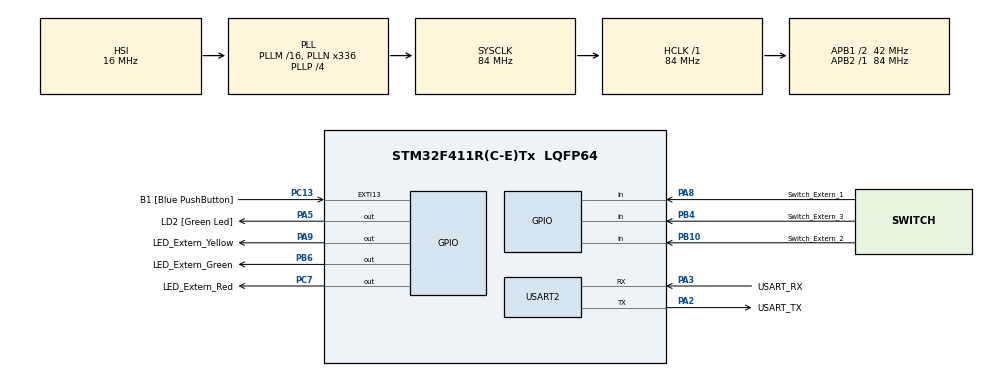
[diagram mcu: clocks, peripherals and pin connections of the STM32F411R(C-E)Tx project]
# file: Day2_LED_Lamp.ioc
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Mcu.Family=STM32F4
Mcu.Name=STM32F411R(C-E)Tx
Mcu.Package=LQFP64
NVIC.PriorityGroup=NVIC_PRIORITYGROUP_0
PA13.GPIO_Label=TMS
PA13.Mode=Serial_Wire
PA13.Signal=SYS_JTMS-SWDIO
PA14.GPIO_Label=TCK
PA14.Mode=Serial_Wire
PA14.Signal=SYS_JTCK-SWCLK
PA2.GPIO_Label=USART_TX
PA2.Mode=Asynchronous
PA2.Signal=USART2_TX
PA3.GPIO_Label=USART_RX
PA3.Mode=Asynchronous
PA3.Signal=USART2_RX
PA5.GPIO_Label=LD2 [Green Led]
PA5.Signal=GPIO_Output
PA8.GPIO_Label=Switch_Extern_1
PA8.Signal=GPIO_Input
PA9.GPIO_Label=LED_Extern_Yellow
PA9.Signal=GPIO_Output
PB10.GPIO_Label=Switch_Extern_2
PB10.Signal=GPIO_Input
PB3.GPIO_Label=SWO
PB3.Signal=SYS_JTDO-SWO
PB4.GPIO_Label=Switch_Extern_3
PB4.Signal=GPIO_Input
PB6.GPIO_Label=LED_Extern_Green
PB6.Signal=GPIO_Output
PC13-ANTI_TAMP.GPIO_Label=B1 [Blue PushButton]
PC13-ANTI_TAMP.GPIO_ModeDefaultEXTI=GPIO_MODE_IT_FALLING
PC13-ANTI_TAMP.Signal=GPXTI13
PC14-OSC32_IN.Mode=LSE-External-Oscillator
PC14-OSC32_IN.Signal=RCC_OSC32_IN
PC15-OSC32_OUT.Mode=LSE-External-Oscillator
PC15-OSC32_OUT.Signal=RCC_OSC32_OUT
PC7.GPIO_Label=LED_Extern_Red
PC7.Signal=GPIO_Output
PH0\ -\ OSC_IN.Mode=HSE-External-Clock-Source
PH0\ -\ OSC_IN.Signal=RCC_OSC_IN
PH1\ -\ OSC_OUT.Mode=HSE-External-Clock-Source
PH1\ -\ OSC_OUT.Signal=RCC_OSC_OUT
ProjectManager.HeapSize=0x200
ProjectManager.StackSize=0x400
ProjectManager.TargetToolchain=STM32CubeIDE
RCC.48MHZClocksFreq_Value=84000000
RCC.AHBFreq_Value=84000000
RCC.APB1CLKDivider=RCC_HCLK_DIV2
RCC.APB1Freq_Value=42000000
RCC.APB1TimFreq_Value=84000000
RCC.APB2Freq_Value=84000000
RCC.APB2TimFreq_Value=84000000
RCC.CortexFreq_Value=84000000
RCC.FLatency-AdvancedSettings=FLASH_LATENCY_2
RCC.HCLKFreq_Value=84000000
RCC.HSE_VALUE=8000000
RCC.HSI_VALUE=16000000
RCC.PLLN=336
RCC.PLLP=RCC_PLLP_DIV4
RCC.SYSCLKFreq_VALUE=84000000
RCC.SYSCLKSource=RCC_SYSCLKSOURCE_PLLCLK
RCC.VCOOutputFreq_Value=336000000
USART2.VirtualMode=VM_ASYNC
board=NUCLEO-F411RE

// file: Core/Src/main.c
/* USER CODE BEGIN Header */
/**
  ******************************************************************************
  * @file           : main.c
  * @brief          : Main program body
  ******************************************************************************
  * @attention
  *
  * Copyright (c) 2023 STMicroelectronics.
  * All rights reserved.
  *
  * This software is licensed under terms that can be found in the LICENSE file
  * in the root directory of this software component.
  * If no LICENSE file comes with this software, it is provided AS-IS.
  *
  ******************************************************************************
  */
#include <stdio.h>
/* USER CODE END Header */
#include "main.h"

UART_HandleTypeDef huart2;

void SystemClock_Config(void);
static void MX_GPIO_Init(void);
static void MX_USART2_UART_Init(void);

int main(void)
{

  /* MCU Configuration--------------------------------------------------------*/

  /* Reset of all peripherals, Initializes the Flash interface and the Systick. */
  HAL_Init();

  /* Configure the system clock */
  SystemClock_Config();

  /* Initialize all configured peripherals */
  MX_GPIO_Init();
  MX_USART2_UART_Init();

  /* Infinite loop */
  while (1)
  {

    /* USER CODE BEGIN 3 */
  int i = HAL_GPIO_ReadPin(Switch_Extern_1_GPIO_Port, Switch_Extern_1_Pin);
  int j = HAL_GPIO_ReadPin(Switch_Extern_2_GPIO_Port, Switch_Extern_2_Pin);
  int k = HAL_GPIO_ReadPin(Switch_Extern_3_GPIO_Port, Switch_Extern_3_Pin);
 	  if(i == 1)
  	  {
  		  // Extern LED Green & Switch_1
  		  HAL_GPIO_WritePin(LED_Extern_Green_GPIO_Port, LED_Extern_Green_Pin, 1);
  		  HAL_Delay(200);
  		  HAL_GPIO_WritePin(LED_Extern_Green_GPIO_Port, LED_Extern_Green_Pin, 0);
  		  HAL_Delay(200);
  	  }
 	  if(j == 1)
  	  {
  		  // Extern LED Green & Switch_1
  		  HAL_GPIO_WritePin(LED_Extern_Red_GPIO_Port, LED_Extern_Red_Pin, 1);
  		  HAL_Delay(200);
  		  HAL_GPIO_WritePin(LED_Extern_Red_GPIO_Port, LED_Extern_Red_Pin, 0);
  		  HAL_Delay(200);
  	  }
 	  if(k == 1)
  	  {
  		  // Extern LED Green & Switch_1
  		  HAL_GPIO_WritePin(LED_Extern_Yellow_GPIO_Port, LED_Extern_Yellow_Pin, 1);
  		  HAL_Delay(200);
  		  HAL_GPIO_WritePin(LED_Extern_Yellow_GPIO_Port, LED_Extern_Yellow_Pin, 0);
  		  HAL_Delay(200);
  	  }
  }
  /* USER CODE END 3 */
}

void SystemClock_Config(void)
{
  RCC_OscInitTypeDef RCC_OscInitStruct = {0};
  RCC_ClkInitTypeDef RCC_ClkInitStruct = {0};

  /** Configure the main internal regulator output voltage
  */
  __HAL_RCC_PWR_CLK_ENABLE();
  __HAL_PWR_VOLTAGESCALING_CONFIG(PWR_REGULATOR_VOLTAGE_SCALE1);

  /** Initializes the RCC Oscillators according to the specified parameters
  * in the RCC_OscInitTypeDef structure.
  */
  RCC_OscInitStruct.OscillatorType = RCC_OSCILLATORTYPE_HSI;
  RCC_OscInitStruct.HSIState = RCC_HSI_ON;
  RCC_OscInitStruct.HSICalibrationValue = RCC_HSICALIBRATION_DEFAULT;
  RCC_OscInitStruct.PLL.PLLState = RCC_PLL_ON;
  RCC_OscInitStruct.PLL.PLLSource = RCC_PLLSOURCE_HSI;
  RCC_OscInitStruct.PLL.PLLM = 16;
  RCC_OscInitStruct.PLL.PLLN = 336;
  RCC_OscInitStruct.PLL.PLLP = RCC_PLLP_DIV4;
  RCC_OscInitStruct.PLL.PLLQ = 4;
  if (HAL_RCC_OscConfig(&RCC_OscInitStruct) != HAL_OK)
  {
    Error_Handler();
  }

  /** Initializes the CPU, AHB and APB buses clocks
  */
  RCC_ClkInitStruct.ClockType = RCC_CLOCKTYPE_HCLK|RCC_CLOCKTYPE_SYSCLK
                              |RCC_CLOCKTYPE_PCLK1|RCC_CLOCKTYPE_PCLK2;
  RCC_ClkInitStruct.SYSCLKSource = RCC_SYSCLKSOURCE_PLLCLK;
  RCC_ClkInitStruct.AHBCLKDivider = RCC_SYSCLK_DIV1;
  RCC_ClkInitStruct.APB1CLKDivider = RCC_HCLK_DIV2;
  RCC_ClkInitStruct.APB2CLKDivider = RCC_HCLK_DIV1;

  if (HAL_RCC_ClockConfig(&RCC_ClkInitStruct, FLASH_LATENCY_2) != HAL_OK)
  {
    Error_Handler();
  }
}

static void MX_USART2_UART_Init(void)
{

  huart2.Instance = USART2;
  huart2.Init.BaudRate = 115200;
  huart2.Init.WordLength = UART_WORDLENGTH_8B;
  huart2.Init.StopBits = UART_STOPBITS_1;
  huart2.Init.Parity = UART_PARITY_NONE;
  huart2.Init.Mode = UART_MODE_TX_RX;
  huart2.Init.HwFlowCtl = UART_HWCONTROL_NONE;
  huart2.Init.OverSampling = UART_OVERSAMPLING_16;
  if (HAL_UART_Init(&huart2) != HAL_OK)
  {
    Error_Handler();
  }

}

static void MX_GPIO_Init(void)
{
  GPIO_InitTypeDef GPIO_InitStruct = {0};

  /* GPIO Ports Clock Enable */
  __HAL_RCC_GPIOC_CLK_ENABLE();
  __HAL_RCC_GPIOH_CLK_ENABLE();
  __HAL_RCC_GPIOA_CLK_ENABLE();
  __HAL_RCC_GPIOB_CLK_ENABLE();

  /*Configure GPIO pin Output Level */
  HAL_GPIO_WritePin(GPIOA, LD2_Pin|LED_Extern_Yellow_Pin, GPIO_PIN_RESET);

  /*Configure GPIO pin Output Level */
  HAL_GPIO_WritePin(LED_Extern_Red_GPIO_Port, LED_Extern_Red_Pin, GPIO_PIN_RESET);

  /*Configure GPIO pin Output Level */
  HAL_GPIO_WritePin(LED_Extern_Green_GPIO_Port, LED_Extern_Green_Pin, GPIO_PIN_RESET);

  /*Configure GPIO pin : B1_Pin */
  GPIO_InitStruct.Pin = B1_Pin;
  GPIO_InitStruct.Mode = GPIO_MODE_IT_FALLING;
  GPIO_InitStruct.Pull = GPIO_NOPULL;
  HAL_GPIO_Init(B1_GPIO_Port, &GPIO_InitStruct);

  /*Configure GPIO pins : LD2_Pin LED_Extern_Yellow_Pin */
  GPIO_InitStruct.Pin = LD2_Pin|LED_Extern_Yellow_Pin;
  GPIO_InitStruct.Mode = GPIO_MODE_OUTPUT_PP;
  GPIO_InitStruct.Pull = GPIO_NOPULL;
  GPIO_InitStruct.Speed = GPIO_SPEED_FREQ_LOW;
  HAL_GPIO_Init(GPIOA, &GPIO_InitStruct);

  /*Configure GPIO pins : Switch_Extern_2_Pin Switch_Extern_3_Pin */
  GPIO_InitStruct.Pin = Switch_Extern_2_Pin|Switch_Extern_3_Pin;
  GPIO_InitStruct.Mode = GPIO_MODE_INPUT;
  GPIO_InitStruct.Pull = GPIO_NOPULL;
  HAL_GPIO_Init(GPIOB, &GPIO_InitStruct);

  /*Configure GPIO pin : LED_Extern_Red_Pin */
  GPIO_InitStruct.Pin = LED_Extern_Red_Pin;
  GPIO_InitStruct.Mode = GPIO_MODE_OUTPUT_PP;
  GPIO_InitStruct.Pull = GPIO_NOPULL;
  GPIO_InitStruct.Speed = GPIO_SPEED_FREQ_LOW;
  HAL_GPIO_Init(LED_Extern_Red_GPIO_Port, &GPIO_InitStruct);

  /*Configure GPIO pin : Switch_Extern_1_Pin */
  GPIO_InitStruct.Pin = Switch_Extern_1_Pin;
  GPIO_InitStruct.Mode = GPIO_MODE_INPUT;
  GPIO_InitStruct.Pull = GPIO_NOPULL;
  HAL_GPIO_Init(Switch_Extern_1_GPIO_Port, &GPIO_InitStruct);

  /*Configure GPIO pin : LED_Extern_Green_Pin */
  GPIO_InitStruct.Pin = LED_Extern_Green_Pin;
  GPIO_InitStruct.Mode = GPIO_MODE_OUTPUT_PP;
  GPIO_InitStruct.Pull = GPIO_NOPULL;
  GPIO_InitStruct.Speed = GPIO_SPEED_FREQ_LOW;
  HAL_GPIO_Init(LED_Extern_Green_GPIO_Port, &GPIO_InitStruct);

}

void Error_Handler(void)
{
  __disable_irq();
  while (1)
  {
  }
}
